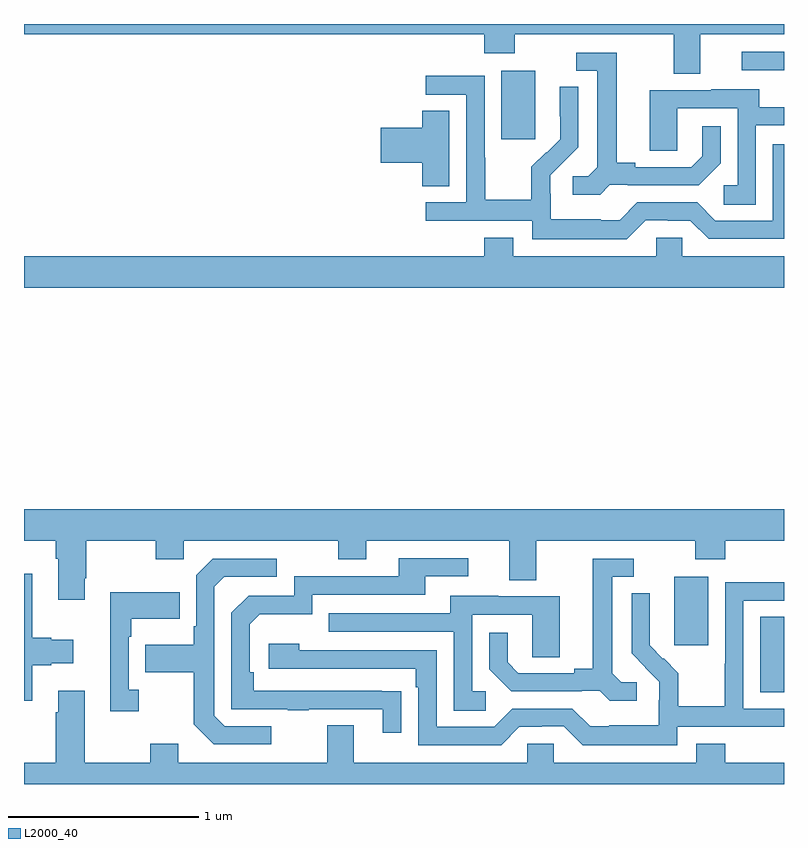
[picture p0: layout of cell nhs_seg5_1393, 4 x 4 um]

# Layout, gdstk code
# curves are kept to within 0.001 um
import gdstk
lib = gdstk.Library(unit=1e-6, precision=1e-09)
def R(c, l, rs):  # rectangles x0, y0, x1, y1
    for r in rs: c.add(gdstk.rectangle(r[:2], r[2:], *l))
def P(c, l, *ps):  # polygons
    for p in ps: c.add(gdstk.Polygon(p, *l))
L2000_40 = (2000, 40)

nhs_seg5_1393 = lib.new_cell('nhs_seg5_1393')
R(nhs_seg5_1393, L2000_40, [(198.875,869.281,199,869.678), (198.422,869.529,198.601,869.89), (197.513,872.193,197.692,872.554), (198.777,872.556,199,872.652)])
P(nhs_seg5_1393, L2000_40, [(198.559,872.744),(199,872.744),(199,872.799),(195,872.799),(195,872.744),(197.423,872.744),(197.423,872.645),(197.583,872.645),(197.583,872.744),(198.419,872.744),(198.419,872.536),(198.559,872.536)],
  [(198.084,871.953),(198.178,871.953),(198.178,871.95),(198.55,871.95),(198.666,872.066),(198.666,872.26),(198.569,872.26),(198.569,872.103),(198.512,872.046),(198.217,872.046),(198.217,872.069),(198.121,872.069),(198.121,872.649),(197.907,872.649),(197.907,872.553),(198.017,872.553),(198.017,872.045),(197.97,871.998),(197.889,871.998),(197.889,871.901),(198.032,871.901)],
  [(198.273,871.767),(198.389,871.767),(198.389,871.764),(198.507,871.764),(198.603,871.668),(199,871.668),(199,872.166),(198.942,872.166),(198.942,871.764),(198.639,871.764),(198.543,871.86),(198.228,871.86),(198.135,871.767),(198.035,871.767),(198.035,871.771),(197.772,871.771),(197.772,871.905),(197.77,871.905),(197.77,872.002),(197.916,872.15),(197.916,872.468),(197.82,872.468),(197.82,872.314),(197.822,872.314),(197.822,872.192),(197.751,872.121),(197.748,872.124),(197.671,872.047),(197.671,871.873),(197.427,871.873),(197.427,872.096),(197.424,872.096),(197.424,872.526),(197.115,872.526),(197.115,872.427),(197.328,872.427),(197.328,871.86),(197.115,871.86),(197.115,871.764),(197.676,871.764),(197.676,871.667),(198.173,871.667)],
  [(198.852,872.265),(199,872.265),(199,872.361),(198.871,872.361),(198.871,872.455),(198.617,872.455),(198.617,872.451),(198.293,872.451),(198.293,872.131),(198.438,872.131),(198.438,872.355),(198.756,872.355),(198.756,871.95),(198.684,871.95),(198.684,871.849),(198.852,871.849)],
  [(197.239,872.342),(197.096,872.342),(197.096,872.252),(196.878,872.252),(196.878,872.069),(197.096,872.069),(197.096,871.945),(197.239,871.945)],
  [(199,871.576),(198.465,871.576),(198.465,871.674),(198.327,871.674),(198.327,871.576),(197.575,871.576),(197.575,871.675),(197.423,871.675),(197.423,871.576),(195,871.576),(195,871.412),(199,871.412)],
  [(195.319,869.881),(195.327,869.881),(195.327,870.08),(195.694,870.08),(195.694,869.981),(195.84,869.981),(195.84,870.08),(196.654,870.08),(196.654,869.981),(196.801,869.981),(196.801,870.08),(197.555,870.08),(197.555,869.872),(197.695,869.872),(197.695,870.08),(198.532,870.08),(198.532,869.981),(198.692,869.981),(198.692,870.08),(199,870.08),(199,870.244),(195,870.244),(195,870.08),(195.167,870.08),(195.167,869.984),(195.179,869.984),(195.179,869.769),(195.319,869.769)],
  [(196.985,869.288),(196.208,869.289),(196.208,869.386),(196.188,869.386),(196.188,869.64),(196.241,869.693),(196.518,869.693),(196.518,869.796),(197.113,869.796),(197.113,869.892),(197.338,869.892),(197.338,869.988),(196.973,869.988),(196.973,869.892),(196.422,869.892),(196.422,869.79),(196.182,869.79),(196.092,869.7),(196.092,869.193),(196.387,869.193),(196.387,869.188),(196.499,869.188),(196.499,869.193),(196.889,869.193),(196.889,869.07),(196.985,869.07)],
  [(196.3,869.103),(196.056,869.103),(196.002,869.157),(196.002,869.838),(196.053,869.889),(196.33,869.889),(196.33,869.985),(195.993,869.985),(195.906,869.898),(195.906,869.629),(195.894,869.629),(195.894,869.533),(195.637,869.533),(195.637,869.386),(195.894,869.386),(195.894,869.113),(195.999,869.007),(196.3,869.007)],
  [(198.226,869.334),(198.144,869.334),(198.097,869.381),(198.097,869.889),(198.208,869.889),(198.208,869.985),(197.993,869.985),(197.993,869.405),(197.897,869.405),(197.897,869.382),(197.602,869.382),(197.545,869.439),(197.545,869.596),(197.448,869.596),(197.448,869.402),(197.564,869.286),(197.936,869.286),(197.936,869.289),(198.03,869.289),(198.082,869.237),(198.226,869.237)],
  [(195.043,869.423),(195.143,869.423),(195.143,869.435),(195.259,869.435),(195.259,869.557),(195.143,869.557),(195.143,869.57),(195.043,869.57),(195.043,869.905),(195,869.905),(195,869.238),(195.043,869.238)],
  [(198.438,869.1),(199,869.1),(199,869.196),(198.786,869.196),(198.786,869.763),(199,869.763),(199,869.862),(198.69,869.862),(198.69,869.432),(198.688,869.432),(198.688,869.209),(198.443,869.209),(198.443,869.383),(198.366,869.46),(198.363,869.457),(198.293,869.528),(198.294,869.804),(198.198,869.804),(198.198,869.486),(198.344,869.338),(198.344,869.241),(198.342,869.241),(198.342,869.107),(198.079,869.107),(198.079,869.103),(197.979,869.103),(197.886,869.196),(197.571,869.196),(197.475,869.1),(197.172,869.1),(197.172,869.502),(196.448,869.502),(196.448,869.536),(196.287,869.536),(196.287,869.406),(197.063,869.406),(197.063,869.309),(197.076,869.309),(197.076,869.004),(197.511,869.004),(197.607,869.1),(197.726,869.1),(197.726,869.103),(197.841,869.103),(197.941,869.003),(198.438,869.003)],
  [(195.604,869.294),(195.552,869.294),(195.552,869.573),(195.565,869.573),(195.565,869.669),(195.821,869.669),(195.821,869.809),(195.455,869.809),(195.455,869.181),(195.604,869.181)],
  [(197.431,869.286),(197.358,869.286),(197.358,869.691),(197.676,869.691),(197.676,869.467),(197.821,869.467),(197.821,869.787),(197.497,869.787),(197.497,869.791),(197.243,869.791),(197.243,869.697),(196.603,869.697),(196.603,869.601),(197.262,869.601),(197.262,869.185),(197.431,869.185)],
  [(199,868.912),(198.692,868.912),(198.692,869.011),(198.539,869.011),(198.539,868.912),(197.787,868.912),(197.787,869.01),(197.649,869.01),(197.649,868.912),(196.735,868.912),(196.735,869.107),(196.595,869.107),(196.595,868.912),(195.811,868.912),(195.811,869.011),(195.664,869.011),(195.664,868.912),(195.319,868.912),(195.319,869.29),(195.179,869.29),(195.179,869.177),(195.167,869.177),(195.167,868.912),(195,868.912),(195,868.799),(199,868.799)])

lib.write_gds('nhs_seg5_1393.gds')
